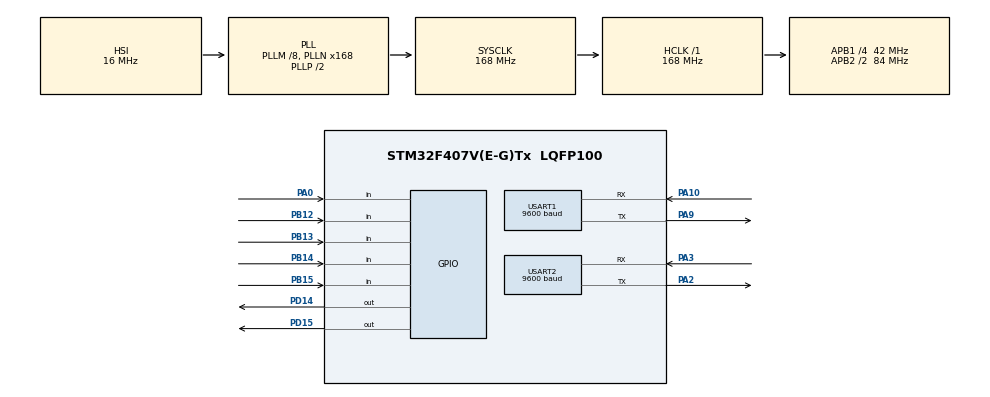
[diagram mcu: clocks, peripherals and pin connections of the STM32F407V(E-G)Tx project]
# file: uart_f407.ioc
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Mcu.Family=STM32F4
Mcu.Name=STM32F407V(E-G)Tx
Mcu.Package=LQFP100
NVIC.PriorityGroup=NVIC_PRIORITYGROUP_4
NVIC.TIM1_BRK_TIM9_IRQn=true\:0\:0\:false\:false\:true\:true\:true
NVIC.TIM1_UP_TIM10_IRQn=true\:0\:0\:false\:false\:true\:true\:true
NVIC.USART1_IRQn=true\:0\:0\:false\:false\:true\:true\:true
NVIC.USART2_IRQn=true\:0\:0\:false\:false\:true\:true\:true
PA0-WKUP.Signal=GPIO_Input
PA10.Mode=Asynchronous
PA10.Signal=USART1_RX
PA13.Mode=Serial_Wire
PA13.Signal=SYS_JTMS-SWDIO
PA14.Mode=Serial_Wire
PA14.Signal=SYS_JTCK-SWCLK
PA2.Mode=Asynchronous
PA2.Signal=USART2_TX
PA3.Mode=Asynchronous
PA3.Signal=USART2_RX
PA9.Mode=Asynchronous
PA9.Signal=USART1_TX
PB12.GPIO_PuPd=GPIO_PULLDOWN
PB12.Signal=GPIO_Input
PB13.GPIO_PuPd=GPIO_PULLDOWN
PB13.Signal=GPIO_Input
PB14.GPIO_PuPd=GPIO_PULLDOWN
PB14.Signal=GPIO_Input
PB15.GPIO_PuPd=GPIO_PULLDOWN
PB15.Signal=GPIO_Input
PD14.Signal=GPIO_Output
PD15.Signal=GPIO_Output
PH0-OSC_IN.Mode=HSE-External-Oscillator
PH0-OSC_IN.Signal=RCC_OSC_IN
PH1-OSC_OUT.Mode=HSE-External-Oscillator
PH1-OSC_OUT.Signal=RCC_OSC_OUT
ProjectManager.HeapSize=0x200
ProjectManager.StackSize=0x400
ProjectManager.TargetToolchain=STM32CubeIDE
RCC.48MHZClocksFreq_Value=84000000
RCC.AHBFreq_Value=168000000
RCC.APB1CLKDivider=RCC_HCLK_DIV4
RCC.APB1Freq_Value=42000000
RCC.APB1TimFreq_Value=84000000
RCC.APB2CLKDivider=RCC_HCLK_DIV2
RCC.APB2Freq_Value=84000000
RCC.APB2TimFreq_Value=168000000
RCC.CortexFreq_Value=168000000
RCC.HCLKFreq_Value=168000000
RCC.HSE_VALUE=8000000
RCC.HSI_VALUE=16000000
RCC.LSE_VALUE=32768
RCC.PLLM=8
RCC.PLLN=168
RCC.SYSCLKFreq_VALUE=168000000
RCC.SYSCLKSource=RCC_SYSCLKSOURCE_PLLCLK
RCC.VCOOutputFreq_Value=336000000
TIM1.Period=16000
USART1.BaudRate=9600
USART1.VirtualMode=VM_ASYNC
USART2.BaudRate=9600
USART2.VirtualMode=VM_ASYNC
VP_TIM1_VS_ClockSourceINT.Mode=Internal
board=custom

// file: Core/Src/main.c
/* USER CODE BEGIN Header */
/**
  ******************************************************************************
  * @file           : main.c
  * @brief          : Main program body
  ******************************************************************************
  * @attention
  *
  * <h2><center>&copy; Copyright (c) 2020 STMicroelectronics.
  * All rights reserved.</center></h2>
  *
  * This software component is licensed by ST under BSD 3-Clause license,
  * the "License"; You may not use this file except in compliance with the
  * License. You may obtain a copy of the License at:
  *                        opensource.org/licenses/BSD-3-Clause
  *
  ******************************************************************************
  */
/* USER CODE END Header */
#include "main.h"

TIM_HandleTypeDef htim1;

UART_HandleTypeDef huart1;
UART_HandleTypeDef huart2;

/* USER CODE BEGIN PV */
uint8_t uart_status;
/* USER CODE END PV */

void SystemClock_Config(void);
static void MX_GPIO_Init(void);
static void MX_TIM1_Init(void);
static void MX_USART1_UART_Init(void);
static void MX_USART2_UART_Init(void);

/* USER CODE BEGIN 0 */
uint8_t left;
uint8_t right;
uint8_t up;
uint8_t down;
uint8_t flag = 0;
uint8_t lastButton = 0;
extern uint8_t true_result;
/* USER CODE END 0 */

int main(void)
{

  /* MCU Configuration--------------------------------------------------------*/

  /* Reset of all peripherals, Initializes the Flash interface and the Systick. */
  HAL_Init();

  /* Configure the system clock */
  SystemClock_Config();

  /* Initialize all configured peripherals */
  MX_GPIO_Init();
  MX_TIM1_Init();
  MX_USART1_UART_Init();
  MX_USART2_UART_Init();
  /* USER CODE BEGIN 2 */
  HAL_TIM_Base_Start_IT(&htim1);

	uint8_t flag;
  /* USER CODE END 2 */

  /* Infinite loop */
  /* USER CODE BEGIN WHILE */
	while (1) {
		int8_t currentButton = right;
		if (lastButton == 0 && currentButton == 1) {
			HAL_GPIO_TogglePin(GPIOD, GPIO_PIN_14);
			if (!flag) {
				send(DOWN, 0);
				send(DOWN, 0);
				send(UP, 254);
				flag = 1;
			} else if (flag) {
				send(UP, 0);
				send(UP, 0);
				send(DOWN, 254);
				flag = 0;
			}

		}
		else if (lastButton == 0 && currentButton == 2) {
			send(DOWN, 0);
			send(DOWN, 0);
			send(UP, 0);
			send(UP, 0);
		}
		lastButton = currentButton;

    /* USER CODE END WHILE */

  }
}

void SystemClock_Config(void)
{
  RCC_OscInitTypeDef RCC_OscInitStruct = {0};
  RCC_ClkInitTypeDef RCC_ClkInitStruct = {0};

  /** Configure the main internal regulator output voltage
  */
  __HAL_RCC_PWR_CLK_ENABLE();
  __HAL_PWR_VOLTAGESCALING_CONFIG(PWR_REGULATOR_VOLTAGE_SCALE1);
  /** Initializes the RCC Oscillators according to the specified parameters
  * in the RCC_OscInitTypeDef structure.
  */
  RCC_OscInitStruct.OscillatorType = RCC_OSCILLATORTYPE_HSI;
  RCC_OscInitStruct.HSIState = RCC_HSI_ON;
  RCC_OscInitStruct.HSICalibrationValue = RCC_HSICALIBRATION_DEFAULT;
  RCC_OscInitStruct.PLL.PLLState = RCC_PLL_ON;
  RCC_OscInitStruct.PLL.PLLSource = RCC_PLLSOURCE_HSI;
  RCC_OscInitStruct.PLL.PLLM = 8;
  RCC_OscInitStruct.PLL.PLLN = 168;
  RCC_OscInitStruct.PLL.PLLP = RCC_PLLP_DIV2;
  RCC_OscInitStruct.PLL.PLLQ = 4;
  if (HAL_RCC_OscConfig(&RCC_OscInitStruct) != HAL_OK)
  {
    Error_Handler();
  }
  /** Initializes the CPU, AHB and APB buses clocks
  */
  RCC_ClkInitStruct.ClockType = RCC_CLOCKTYPE_HCLK|RCC_CLOCKTYPE_SYSCLK
                              |RCC_CLOCKTYPE_PCLK1|RCC_CLOCKTYPE_PCLK2;
  RCC_ClkInitStruct.SYSCLKSource = RCC_SYSCLKSOURCE_PLLCLK;
  RCC_ClkInitStruct.AHBCLKDivider = RCC_SYSCLK_DIV1;
  RCC_ClkInitStruct.APB1CLKDivider = RCC_HCLK_DIV4;
  RCC_ClkInitStruct.APB2CLKDivider = RCC_HCLK_DIV2;

  if (HAL_RCC_ClockConfig(&RCC_ClkInitStruct, FLASH_LATENCY_5) != HAL_OK)
  {
    Error_Handler();
  }
}

static void MX_TIM1_Init(void)
{

  TIM_ClockConfigTypeDef sClockSourceConfig = {0};
  TIM_MasterConfigTypeDef sMasterConfig = {0};

  htim1.Instance = TIM1;
  htim1.Init.Prescaler = 0;
  htim1.Init.CounterMode = TIM_COUNTERMODE_UP;
  htim1.Init.Period = 16000;
  htim1.Init.ClockDivision = TIM_CLOCKDIVISION_DIV1;
  htim1.Init.RepetitionCounter = 0;
  htim1.Init.AutoReloadPreload = TIM_AUTORELOAD_PRELOAD_DISABLE;
  if (HAL_TIM_Base_Init(&htim1) != HAL_OK)
  {
    Error_Handler();
  }
  sClockSourceConfig.ClockSource = TIM_CLOCKSOURCE_INTERNAL;
  if (HAL_TIM_ConfigClockSource(&htim1, &sClockSourceConfig) != HAL_OK)
  {
    Error_Handler();
  }
  sMasterConfig.MasterOutputTrigger = TIM_TRGO_RESET;
  sMasterConfig.MasterSlaveMode = TIM_MASTERSLAVEMODE_DISABLE;
  if (HAL_TIMEx_MasterConfigSynchronization(&htim1, &sMasterConfig) != HAL_OK)
  {
    Error_Handler();
  }

}

static void MX_USART1_UART_Init(void)
{

  huart1.Instance = USART1;
  huart1.Init.BaudRate = 9600;
  huart1.Init.WordLength = UART_WORDLENGTH_8B;
  huart1.Init.StopBits = UART_STOPBITS_1;
  huart1.Init.Parity = UART_PARITY_NONE;
  huart1.Init.Mode = UART_MODE_TX_RX;
  huart1.Init.HwFlowCtl = UART_HWCONTROL_NONE;
  huart1.Init.OverSampling = UART_OVERSAMPLING_16;
  if (HAL_UART_Init(&huart1) != HAL_OK)
  {
    Error_Handler();
  }

}

static void MX_USART2_UART_Init(void)
{

  huart2.Instance = USART2;
  huart2.Init.BaudRate = 9600;
  huart2.Init.WordLength = UART_WORDLENGTH_8B;
  huart2.Init.StopBits = UART_STOPBITS_1;
  huart2.Init.Parity = UART_PARITY_NONE;
  huart2.Init.Mode = UART_MODE_TX_RX;
  huart2.Init.HwFlowCtl = UART_HWCONTROL_NONE;
  huart2.Init.OverSampling = UART_OVERSAMPLING_16;
  if (HAL_UART_Init(&huart2) != HAL_OK)
  {
    Error_Handler();
  }

}

static void MX_GPIO_Init(void)
{
  GPIO_InitTypeDef GPIO_InitStruct = {0};

  /* GPIO Ports Clock Enable */
  __HAL_RCC_GPIOH_CLK_ENABLE();
  __HAL_RCC_GPIOA_CLK_ENABLE();
  __HAL_RCC_GPIOB_CLK_ENABLE();
  __HAL_RCC_GPIOD_CLK_ENABLE();

  /*Configure GPIO pin Output Level */
  HAL_GPIO_WritePin(GPIOD, GPIO_PIN_14|GPIO_PIN_15, GPIO_PIN_RESET);

  /*Configure GPIO pin : PA0 */
  GPIO_InitStruct.Pin = GPIO_PIN_0;
  GPIO_InitStruct.Mode = GPIO_MODE_INPUT;
  GPIO_InitStruct.Pull = GPIO_NOPULL;
  HAL_GPIO_Init(GPIOA, &GPIO_InitStruct);

  /*Configure GPIO pins : PB12 PB13 PB14 PB15 */
  GPIO_InitStruct.Pin = GPIO_PIN_12|GPIO_PIN_13|GPIO_PIN_14|GPIO_PIN_15;
  GPIO_InitStruct.Mode = GPIO_MODE_INPUT;
  GPIO_InitStruct.Pull = GPIO_PULLDOWN;
  HAL_GPIO_Init(GPIOB, &GPIO_InitStruct);

  /*Configure GPIO pins : PD14 PD15 */
  GPIO_InitStruct.Pin = GPIO_PIN_14|GPIO_PIN_15;
  GPIO_InitStruct.Mode = GPIO_MODE_OUTPUT_PP;
  GPIO_InitStruct.Pull = GPIO_NOPULL;
  GPIO_InitStruct.Speed = GPIO_SPEED_FREQ_LOW;
  HAL_GPIO_Init(GPIOD, &GPIO_InitStruct);

}

/* USER CODE BEGIN 4 */
void HAL_TIM_PeriodElapsedCallback(TIM_HandleTypeDef *htim){
right =  button(htim, GPIOB, GPIO_PIN_15);
up =  button(htim, GPIOB, GPIO_PIN_14);

}
/* USER CODE END 4 */

void Error_Handler(void)
{
}

/************************ (C) COPYRIGHT STMicroelectronics *****END OF FILE****/
